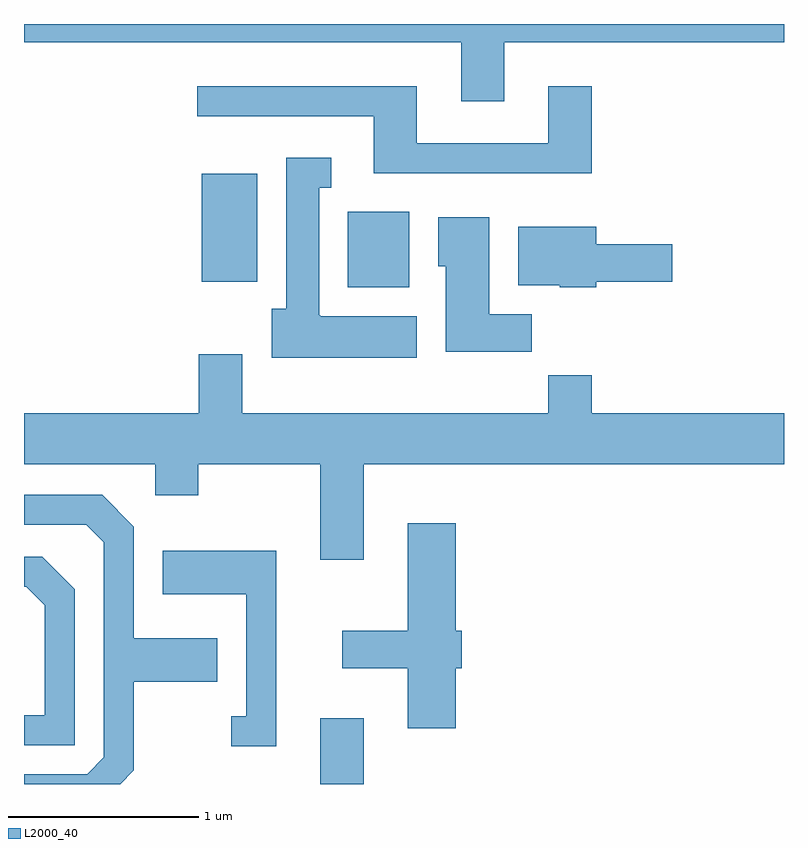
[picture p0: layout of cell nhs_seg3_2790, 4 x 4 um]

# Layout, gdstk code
import gdstk
lib = gdstk.Library(unit=1e-6, precision=1e-09)
def R(c, l, rs):  # rectangles x0, y0, x1, y1
    for r in rs: c.add(gdstk.rectangle(r[:2], r[2:], *l))
def P(c, l, *ps):  # polygons
    for p in ps: c.add(gdstk.Polygon(p, *l))
L2000_40 = (2000, 40)

nhs_seg3_2790 = lib.new_cell('nhs_seg3_2790')
R(nhs_seg3_2790, L2000_40, [(269.171,1119.892,269.399,1120.239), (269.316,1122.506,269.639,1122.904), (268.546,1122.536,268.839,1123.104)])
P(nhs_seg3_2790, L2000_40, [(270.139,1123.796),(271.611,1123.796),(271.611,1123.892),(267.611,1123.892),(267.611,1123.796),(269.911,1123.796),(269.911,1123.486),(270.139,1123.486)],
  [(270.599,1123.564),(270.371,1123.564),(270.371,1123.264),(269.679,1123.264),(269.679,1123.564),(268.523,1123.564),(268.523,1123.406),(269.451,1123.406),(269.451,1123.106),(270.599,1123.106)],
  [(269.679,1122.354),(269.17,1122.354),(269.17,1122.36),(269.164,1122.36),(269.164,1123.031),(269.228,1123.031),(269.228,1123.189),(268.991,1123.189),(268.991,1122.394),(268.916,1122.394),(268.916,1122.136),(269.679,1122.136)],
  [(270.284,1122.364),(270.059,1122.364),(270.059,1122.874),(269.791,1122.874),(269.791,1122.616),(269.831,1122.616),(269.831,1122.166),(270.284,1122.166)],
  [(270.624,1122.536),(271.024,1122.536),(271.024,1122.734),(270.624,1122.734),(270.624,1122.824),(270.211,1122.824),(270.211,1122.516),(270.43,1122.516),(270.43,1122.506),(270.624,1122.506)],
  [(269.399,1121.576),(271.611,1121.576),(271.611,1121.844),(270.599,1121.844),(270.599,1122.044),(270.371,1122.044),(270.371,1121.844),(268.759,1121.844),(268.759,1122.154),(268.531,1122.154),(268.531,1121.844),(267.611,1121.844),(267.611,1121.576),(268.301,1121.576),(268.301,1121.411),(268.529,1121.411),(268.529,1121.576),(269.171,1121.576),(269.171,1121.071),(269.399,1121.071)],
  [(268.189,1119.964),(268.189,1120.431),(268.629,1120.431),(268.629,1120.659),(268.189,1120.659),(268.189,1121.247),(268.022,1121.414),(267.611,1121.414),(267.611,1121.256),(267.939,1121.256),(268.031,1121.164),(268.031,1120.032),(267.944,1119.944),(267.611,1119.944),(267.611,1119.892),(268.117,1119.892)],
  [(269.884,1120.501),(269.914,1120.501),(269.914,1120.699),(269.884,1120.699),(269.884,1121.264),(269.631,1121.264),(269.631,1120.699),(269.286,1120.699),(269.286,1120.501),(269.631,1120.501),(269.631,1120.186),(269.884,1120.186)],
  [(268.939,1121.119),(268.341,1121.119),(268.341,1120.891),(268.781,1120.891),(268.781,1120.249),(268.703,1120.249),(268.703,1120.091),(268.939,1120.091)],
  [(267.879,1120.917),(267.707,1121.089),(267.611,1121.089),(267.611,1120.931),(267.624,1120.931),(267.721,1120.834),(267.721,1120.254),(267.611,1120.254),(267.611,1120.096),(267.879,1120.096)])

lib.write_gds('nhs_seg3_2790.gds')
